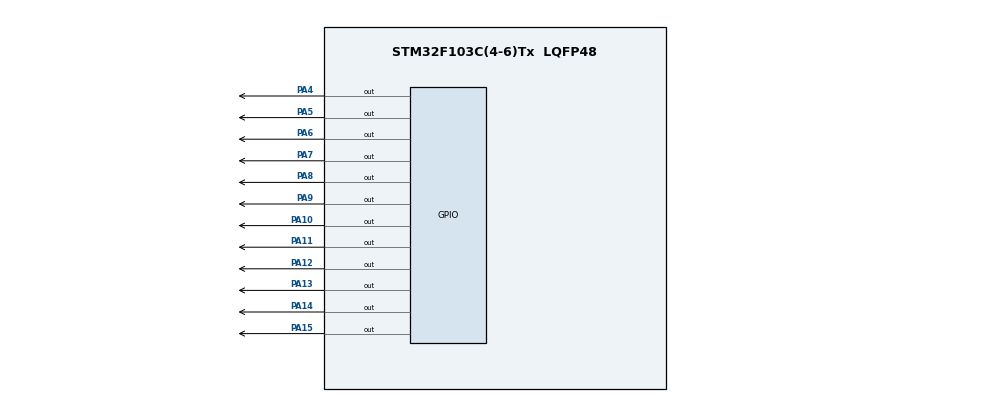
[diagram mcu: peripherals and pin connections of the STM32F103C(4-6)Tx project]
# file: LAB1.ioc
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Mcu.Family=STM32F1
Mcu.Name=STM32F103C(4-6)Tx
Mcu.Package=LQFP48
NVIC.PriorityGroup=NVIC_PRIORITYGROUP_4
PA10.Signal=GPIO_Output
PA11.Signal=GPIO_Output
PA12.Signal=GPIO_Output
PA13.Signal=GPIO_Output
PA14.Signal=GPIO_Output
PA15.Signal=GPIO_Output
PA4.Signal=GPIO_Output
PA5.Signal=GPIO_Output
PA6.Signal=GPIO_Output
PA7.Signal=GPIO_Output
PA8.Signal=GPIO_Output
PA9.Signal=GPIO_Output
ProjectManager.HeapSize=0x200
ProjectManager.StackSize=0x400
ProjectManager.TargetToolchain=STM32CubeIDE
RCC.APB1Freq_Value=8000000
RCC.APB2Freq_Value=8000000
board=custom

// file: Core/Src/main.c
/* USER CODE BEGIN Header */
/**
  ******************************************************************************
  * @file           : main.c
  * @brief          : Main program body
  ******************************************************************************
  * @attention
  *
  * Copyright (c) 2023 STMicroelectronics.
  * All rights reserved.
  *
  * This software is licensed under terms that can be found in the LICENSE file
  * in the root directory of this software component.
  * If no LICENSE file comes with this software, it is provided AS-IS.
  *
  ******************************************************************************
  */
/* USER CODE END Header */
#include "main.h"

void SystemClock_Config(void);
static void MX_GPIO_Init(void);

int main(void)
{

  /* MCU Configuration--------------------------------------------------------*/

  /* Reset of all peripherals, Initializes the Flash interface and the Systick. */
  HAL_Init();

  /* Configure the system clock */
  SystemClock_Config();

  /* Initialize all configured peripherals */
  MX_GPIO_Init();
  /* USER CODE BEGIN 2 */
  uint16_t pinStates[] = {GPIO_PIN_15,GPIO_PIN_4,GPIO_PIN_5,GPIO_PIN_6,GPIO_PIN_7
              ,GPIO_PIN_8,GPIO_PIN_9,GPIO_PIN_10,GPIO_PIN_11
              ,GPIO_PIN_12,GPIO_PIN_13,GPIO_PIN_14,GPIO_PIN_0};
  void clearAllClock() {
  	  HAL_GPIO_WritePin(GPIOA, GPIO_PIN_4, RESET);
  	  HAL_GPIO_WritePin(GPIOA, GPIO_PIN_5, RESET);
  	  HAL_GPIO_WritePin(GPIOA, GPIO_PIN_6, RESET);
  	  HAL_GPIO_WritePin(GPIOA, GPIO_PIN_7, RESET);
  	  HAL_GPIO_WritePin(GPIOA, GPIO_PIN_8, RESET);
  	  HAL_GPIO_WritePin(GPIOA, GPIO_PIN_9, RESET);
  	  HAL_GPIO_WritePin(GPIOA, GPIO_PIN_10, RESET);
  	  HAL_GPIO_WritePin(GPIOA, GPIO_PIN_11, RESET);
  	  HAL_GPIO_WritePin(GPIOA, GPIO_PIN_12, RESET);
  	  HAL_GPIO_WritePin(GPIOA, GPIO_PIN_13, RESET);
  	  HAL_GPIO_WritePin(GPIOA, GPIO_PIN_14, RESET);
  	  HAL_GPIO_WritePin(GPIOA, GPIO_PIN_15, RESET);
  }
  /* USER CODE END 2 */
  void setNumberOnClock(int number) {
	  HAL_GPIO_WritePin(GPIOA,pinStates[number], SET);
  }

  void clearNumberOnClock(int number) {
	  HAL_GPIO_WritePin(GPIOA, pinStates[number], RESET);
  }
  /* Infinite loop */
  /* USER CODE BEGIN WHILE */
  // Da scale gia tri quy doi 1h = 3600s thanh 36s de de quan sat
  clearAllClock();
  const int HOUR_TO_SECOND = 36;
  int hour = 0;
  int lastMinuteState = 0;
  int hHand = 0;
  int mHand = 0;
  while (1)
  {
	  setNumberOnClock(hour);
	  if (hHand <= HOUR_TO_SECOND) {
		  if (mHand < 2) {
			  setNumberOnClock(lastMinuteState);
			  mHand++;
		  } else {
			  mHand = 0;
			  clearNumberOnClock(lastMinuteState);
			  if (lastMinuteState == 12) {
				  lastMinuteState = 0;
			  } else {
				  lastMinuteState++;
			  }
		  }
		  hHand++;
	  } else {
		  hHand = 0;
		  clearNumberOnClock(hour);
		  if (hour == 12) {
			  hour = 0;
		  } else {
			  hour++;
		  }
	  }
	  HAL_Delay(1000);
    /* USER CODE END WHILE */

  }
}

void SystemClock_Config(void)
{
  RCC_OscInitTypeDef RCC_OscInitStruct = {0};
  RCC_ClkInitTypeDef RCC_ClkInitStruct = {0};

  /** Initializes the RCC Oscillators according to the specified parameters
  * in the RCC_OscInitTypeDef structure.
  */
  RCC_OscInitStruct.OscillatorType = RCC_OSCILLATORTYPE_HSI;
  RCC_OscInitStruct.HSIState = RCC_HSI_ON;
  RCC_OscInitStruct.HSICalibrationValue = RCC_HSICALIBRATION_DEFAULT;
  RCC_OscInitStruct.PLL.PLLState = RCC_PLL_NONE;
  if (HAL_RCC_OscConfig(&RCC_OscInitStruct) != HAL_OK)
  {
    Error_Handler();
  }

  /** Initializes the CPU, AHB and APB buses clocks
  */
  RCC_ClkInitStruct.ClockType = RCC_CLOCKTYPE_HCLK|RCC_CLOCKTYPE_SYSCLK
                              |RCC_CLOCKTYPE_PCLK1|RCC_CLOCKTYPE_PCLK2;
  RCC_ClkInitStruct.SYSCLKSource = RCC_SYSCLKSOURCE_HSI;
  RCC_ClkInitStruct.AHBCLKDivider = RCC_SYSCLK_DIV1;
  RCC_ClkInitStruct.APB1CLKDivider = RCC_HCLK_DIV1;
  RCC_ClkInitStruct.APB2CLKDivider = RCC_HCLK_DIV1;

  if (HAL_RCC_ClockConfig(&RCC_ClkInitStruct, FLASH_LATENCY_0) != HAL_OK)
  {
    Error_Handler();
  }
}

static void MX_GPIO_Init(void)
{
  GPIO_InitTypeDef GPIO_InitStruct = {0};

  /* GPIO Ports Clock Enable */
  __HAL_RCC_GPIOA_CLK_ENABLE();

  /*Configure GPIO pin Output Level */
  HAL_GPIO_WritePin(GPIOA, GPIO_PIN_4|GPIO_PIN_5|GPIO_PIN_6|GPIO_PIN_7
                          |GPIO_PIN_8|GPIO_PIN_9|GPIO_PIN_10|GPIO_PIN_11
                          |GPIO_PIN_12|GPIO_PIN_13|GPIO_PIN_14|GPIO_PIN_15, GPIO_PIN_RESET);

  /*Configure GPIO pins : PA4 PA5 PA6 PA7
                           PA8 PA9 PA10 PA11
                           PA12 PA13 PA14 PA15 */
  GPIO_InitStruct.Pin = GPIO_PIN_4|GPIO_PIN_5|GPIO_PIN_6|GPIO_PIN_7
                          |GPIO_PIN_8|GPIO_PIN_9|GPIO_PIN_10|GPIO_PIN_11
                          |GPIO_PIN_12|GPIO_PIN_13|GPIO_PIN_14|GPIO_PIN_15;
  GPIO_InitStruct.Mode = GPIO_MODE_OUTPUT_PP;
  GPIO_InitStruct.Pull = GPIO_NOPULL;
  GPIO_InitStruct.Speed = GPIO_SPEED_FREQ_LOW;
  HAL_GPIO_Init(GPIOA, &GPIO_InitStruct);

}

void Error_Handler(void)
{
  __disable_irq();
  while (1)
  {
  }
}
